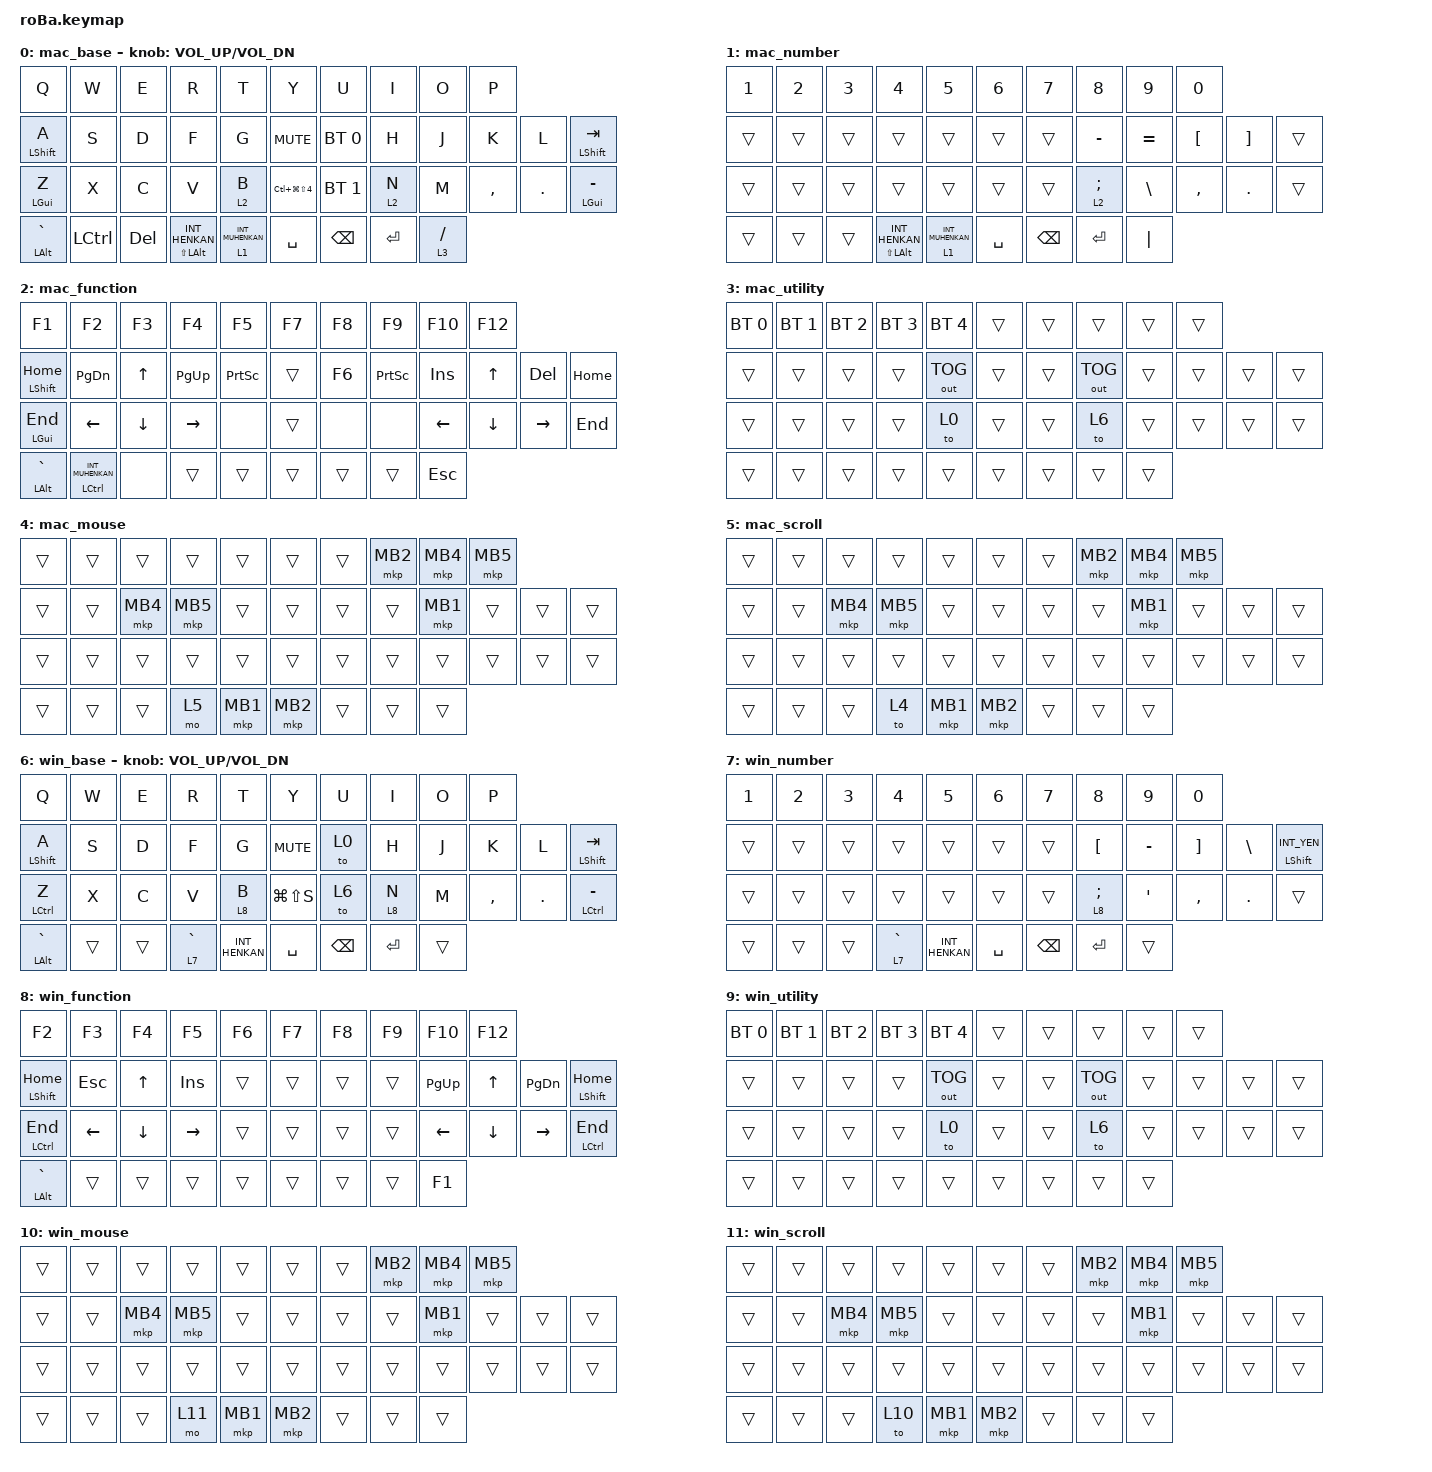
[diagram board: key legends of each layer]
#include <behaviors.dtsi>
#include <dt-bindings/zmk/keys.h>
#include <dt-bindings/zmk/bt.h>
#include <dt-bindings/zmk/outputs.h>
#include <dt-bindings/zmk/mouse.h>

/*
 * roBa keymap - Keyball39 Mac + Windows(JIS) layout port
 * Mac: Layer 0-5 / Win: Layer 6-11
 * Right inner upper key: To Layer 0 (Mac)
 * Right inner lower key: To Layer 6 (Win)
 * Encoder: volume up/down, press mute
 * Key under encoder: Mac = Ctrl+Cmd+Shift+4, Win = Win+Shift+S
 * Win Layer 8 "Macro 5" positions are left &trans until macro details are known.
 */


&lt {
    flavor = "balanced";
    tapping-term-ms = <250>;
    quick-tap-ms = <175>;
    require-prior-idle-ms = <125>;
};
&mt {
    flavor = "balanced";
    tapping-term-ms = <250>;
    quick-tap-ms = <175>;
    require-prior-idle-ms = <125>;
};


&trackball {
    automouse-layer = <4>;
    scroll-layers = <5>;
};

/ {
    keymap {
        compatible = "zmk,keymap";

        mac_base {
            bindings = <
                &kp Q              &kp W              &kp E              &kp R              &kp T              &kp Y              &kp U              &kp I              &kp O              &kp P
                &mt LSHIFT A       &kp S              &kp D              &kp F              &kp G              &kp C_MUTE         &bt BT_SEL 0       &kp H              &kp J              &kp K              &kp L              &mt LSHIFT TAB
                &mt LGUI Z         &kp X              &kp C              &kp V              &lt 2 B            &kp LC(LG(LS(N4))) &bt BT_SEL 1       &lt 2 N            &kp M              &kp COMMA          &kp DOT            &mt LGUI MINUS
                &mt LALT GRAVE     &kp LCTRL          &kp DEL            &mt LS(LALT) INT_HENKAN &lt 1 INT_MUHENKAN &kp SPACE          &kp BSPC           &kp ENTER          &lt 3 SLASH
            >;
            sensor-bindings = <&inc_dec_kp C_VOL_UP C_VOL_DN>;
        };

        mac_number {
            bindings = <
                &kp N1             &kp N2             &kp N3             &kp N4             &kp N5             &kp N6             &kp N7             &kp N8             &kp N9             &kp N0
                &trans             &trans             &trans             &trans             &trans             &trans             &trans             &kp MINUS          &kp EQUAL          &kp LBKT           &kp RBKT           &trans
                &trans             &trans             &trans             &trans             &trans             &trans             &trans             &lt 2 SEMI         &kp BSLH           &kp COMMA          &kp DOT            &trans
                &trans             &trans             &trans             &mt LS(LALT) INT_HENKAN &lt 1 INT_MUHENKAN &kp SPACE          &kp BSPC           &kp ENTER          &kp PIPE
            >;
        };

        mac_function {
            bindings = <
                &kp F1             &kp F2             &kp F3             &kp F4             &kp F5             &kp F7             &kp F8             &kp F9             &kp F10            &kp F12
                &mt LSHIFT HOME    &kp PG_DN          &kp UP             &kp PG_UP          &kp PSCRN          &trans             &kp F6             &kp PSCRN          &kp INS            &kp UP             &kp DEL            &kp HOME
                &mt LGUI END       &kp LEFT           &kp DOWN           &kp RIGHT          &none              &trans             &none              &none              &kp LEFT           &kp DOWN           &kp RIGHT          &kp END
                &mt LALT GRAVE     &mt LCTRL INT_MUHENKAN &none              &trans             &trans             &trans             &trans             &trans             &kp ESC
            >;
        };

        mac_utility {
            bindings = <
                &bt BT_SEL 0       &bt BT_SEL 1       &bt BT_SEL 2       &bt BT_SEL 3       &bt BT_SEL 4       &trans             &trans             &trans             &trans             &trans
                &trans             &trans             &trans             &trans             &out OUT_TOG       &trans             &trans             &out OUT_TOG       &trans             &trans             &trans             &trans
                &trans             &trans             &trans             &trans             &to 0              &trans             &trans             &to 6              &trans             &trans             &trans             &trans
                &trans             &trans             &trans             &trans             &trans             &trans             &trans             &trans             &trans
            >;
        };

        mac_mouse {
            bindings = <
                &trans             &trans             &trans             &trans             &trans             &trans             &trans             &mkp MB2           &mkp MB4           &mkp MB5
                &trans             &trans             &mkp MB4           &mkp MB5           &trans             &trans             &trans             &trans             &mkp MB1           &trans             &trans             &trans
                &trans             &trans             &trans             &trans             &trans             &trans             &trans             &trans             &trans             &trans             &trans             &trans
                &trans             &trans             &trans             &mo 5              &mkp MB1           &mkp MB2           &trans             &trans             &trans
            >;
        };

        mac_scroll {
            bindings = <
                &trans             &trans             &trans             &trans             &trans             &trans             &trans             &mkp MB2           &mkp MB4           &mkp MB5
                &trans             &trans             &mkp MB4           &mkp MB5           &trans             &trans             &trans             &trans             &mkp MB1           &trans             &trans             &trans
                &trans             &trans             &trans             &trans             &trans             &trans             &trans             &trans             &trans             &trans             &trans             &trans
                &trans             &trans             &trans             &to 4              &mkp MB1           &mkp MB2           &trans             &trans             &trans
            >;
        };

        win_base {
            bindings = <
                &kp Q              &kp W              &kp E              &kp R              &kp T              &kp Y              &kp U              &kp I              &kp O              &kp P
                &mt LSHIFT A       &kp S              &kp D              &kp F              &kp G              &kp C_MUTE         &to 0              &kp H              &kp J              &kp K              &kp L              &mt LSHIFT TAB
                &mt LCTRL Z        &kp X              &kp C              &kp V              &lt 8 B            &kp LG(LS(S))      &to 6              &lt 8 N            &kp M              &kp COMMA          &kp DOT            &mt LCTRL MINUS
                &mt LALT GRAVE     &trans             &trans             &lt 7 GRAVE        &kp INT_HENKAN     &kp SPACE          &kp BSPC           &kp ENTER          &trans
            >;
            sensor-bindings = <&inc_dec_kp C_VOL_UP C_VOL_DN>;
        };

        win_number {
            bindings = <
                &kp N1             &kp N2             &kp N3             &kp N4             &kp N5             &kp N6             &kp N7             &kp N8             &kp N9             &kp N0
                &trans             &trans             &trans             &trans             &trans             &trans             &trans             &kp LBKT           &kp MINUS          &kp RBKT           &kp BSLH           &mt LSHIFT INT_YEN
                &trans             &trans             &trans             &trans             &trans             &trans             &trans             &lt 8 SEMI         &kp SQT            &kp COMMA          &kp DOT            &trans
                &trans             &trans             &trans             &lt 7 GRAVE        &kp INT_HENKAN     &kp SPACE          &kp BSPC           &kp ENTER          &trans
            >;
        };

        win_function {
            bindings = <
                &kp F2             &kp F3             &kp F4             &kp F5             &kp F6             &kp F7             &kp F8             &kp F9             &kp F10            &kp F12
                &mt LSHIFT HOME    &kp ESC            &kp UP             &kp INS            &trans             &trans             &trans             &trans             &kp PG_UP          &kp UP             &kp PG_DN          &mt LSHIFT HOME
                &mt LCTRL END      &kp LEFT           &kp DOWN           &kp RIGHT          &trans             &trans             &trans             &trans             &kp LEFT           &kp DOWN           &kp RIGHT          &mt LCTRL END
                &mt LALT GRAVE     &trans             &trans             &trans             &trans             &trans             &trans             &trans             &kp F1
            >;
        };

        win_utility {
            bindings = <
                &bt BT_SEL 0       &bt BT_SEL 1       &bt BT_SEL 2       &bt BT_SEL 3       &bt BT_SEL 4       &trans             &trans             &trans             &trans             &trans
                &trans             &trans             &trans             &trans             &out OUT_TOG       &trans             &trans             &out OUT_TOG       &trans             &trans             &trans             &trans
                &trans             &trans             &trans             &trans             &to 0              &trans             &trans             &to 6              &trans             &trans             &trans             &trans
                &trans             &trans             &trans             &trans             &trans             &trans             &trans             &trans             &trans
            >;
        };

        win_mouse {
            bindings = <
                &trans             &trans             &trans             &trans             &trans             &trans             &trans             &mkp MB2           &mkp MB4           &mkp MB5
                &trans             &trans             &mkp MB4           &mkp MB5           &trans             &trans             &trans             &trans             &mkp MB1           &trans             &trans             &trans
                &trans             &trans             &trans             &trans             &trans             &trans             &trans             &trans             &trans             &trans             &trans             &trans
                &trans             &trans             &trans             &mo 11             &mkp MB1           &mkp MB2           &trans             &trans             &trans
            >;
        };

        win_scroll {
            bindings = <
                &trans             &trans             &trans             &trans             &trans             &trans             &trans             &mkp MB2           &mkp MB4           &mkp MB5
                &trans             &trans             &mkp MB4           &mkp MB5           &trans             &trans             &trans             &trans             &mkp MB1           &trans             &trans             &trans
                &trans             &trans             &trans             &trans             &trans             &trans             &trans             &trans             &trans             &trans             &trans             &trans
                &trans             &trans             &trans             &to 10             &mkp MB1           &mkp MB2           &trans             &trans             &trans
            >;
        };
    };
};
